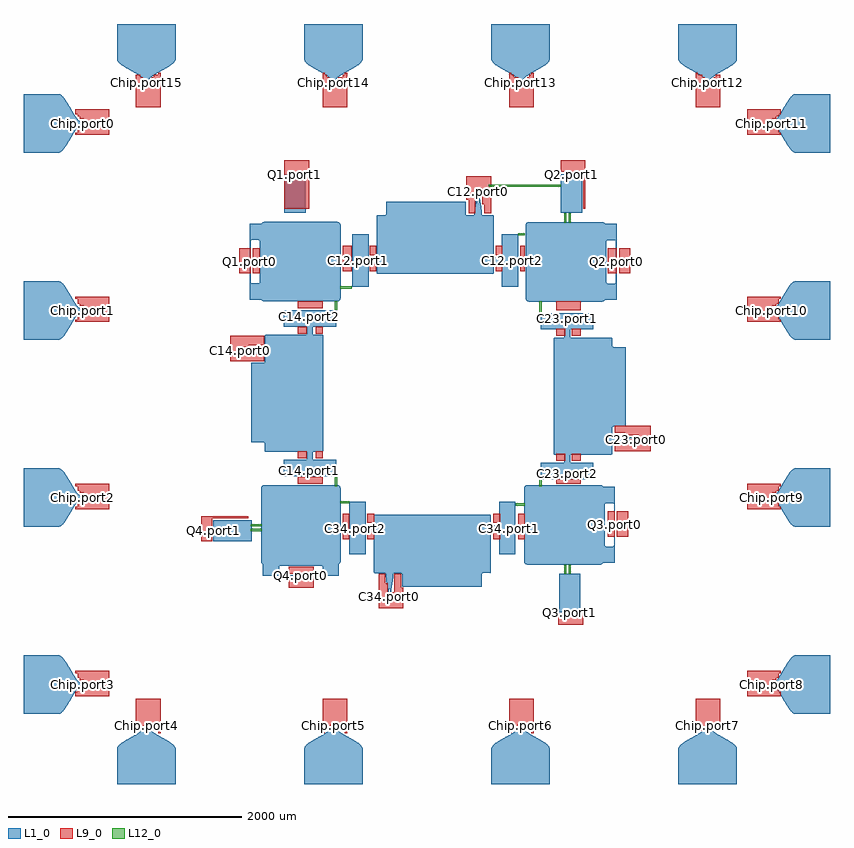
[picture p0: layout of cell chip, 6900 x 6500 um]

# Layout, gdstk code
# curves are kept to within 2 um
import gdstk
lib = gdstk.Library(unit=1e-6, precision=1e-09)
def R(c, l, rs):  # rectangles x0, y0, x1, y1
    for r in rs: c.add(gdstk.rectangle(r[:2], r[2:], *l))
def P(c, l, *ps):  # polygons
    for p in ps: c.add(gdstk.Polygon(p, *l))
L1_0 = (1, 0)
L9_0 = (9, 0)
L12_0 = (12, 0)

chip = lib.new_cell('chip')
R(chip, L1_0, [(4981.21,-209.86,5163.21,120.14), (2022.21,399.14,2352.21,581.14), (4995.28,3209.22,5177.28,3539.22), (2631.21,3210.14,2813.21,3540.14)])
P(chip, L1_0, [(2460.736,2450.14),(2442.039,2457.885),(2435.058,2467.298),(2432.211,2478.656),(2432.211,2466.14),(2336.21,2466.14),(2336.21,2785.14),(2342.21,2785.14),(2343.159,2609.859),(2351.719,2604.14),(2412.701,2604.14),(2418.934,2606.722),(2422.21,2613.649),(2422.114,2967.609),(2418.934,2973.558),(2412.701,2976.14),(2351.719,2976.14),(2343.159,2970.421),(2342.21,2795.14),(2336.21,2795.14),(2336.21,3114.14),(2432.211,3114.14),(2432.211,3101.624),(2435.058,3112.982),(2442.039,3122.395),(2460.736,3130.14),(3083.684,3130.14),(3102.381,3122.395),(3109.362,3112.982),(3112.21,3101.614),(3112.21,2478.666),(3104.465,2459.969),(3095.052,2452.988),(3083.684,2450.14)],
  [(2448.21,104.14),(2448.21,200.141),(2460.726,200.141),(2449.368,202.988),(2439.955,209.969),(2432.21,228.666),(2432.21,851.614),(2439.955,870.311),(2449.368,877.292),(2460.736,880.14),(3083.684,880.14),(3102.381,872.395),(3109.362,862.982),(3112.21,851.614),(3112.21,228.666),(3104.465,209.969),(3095.052,202.988),(3083.694,200.141),(3096.21,200.141),(3096.21,104.14),(2777.21,104.14),(2777.21,110.14),(2952.491,111.089),(2958.21,119.649),(2958.21,180.631),(2955.628,186.864),(2948.701,190.14),(2594.741,190.044),(2588.792,186.864),(2586.21,180.631),(2586.21,119.649),(2591.929,111.089),(2767.21,110.14),(2767.21,104.14)],
  [(2624.73,954.39),(2624.73,1094.39),(2824.73,1094.39),(2824.73,1164.39),(2473.261,1164.486),(2464.826,1172.921),(2464.73,1234.881),(2459.877,1242.978),(2348.73,1244.39),(2348.73,1924.39),(2460.694,1926.348),(2464.73,1933.899),(2464.73,2006.39),(2460.73,2006.39),(2460.73,1999.39),(2434.923,2000.349),(2305.891,2017.662),(2260.73,2020.39),(2260.73,2026.39),(2434.73,2029.252),(2434.73,2033.528),(2260.73,2036.39),(2260.73,2042.39),(2305.891,2045.118),(2434.923,2062.431),(2460.73,2063.39),(2460.73,2056.39),(2464.73,2056.39),(2464.73,2154.881),(2472.297,2164.102),(2824.73,2164.39),(2824.73,2234.39),(2624.73,2234.39),(2624.73,2374.39),(3074.73,2374.39),(3074.73,2234.39),(2874.73,2234.39),(2874.73,2164.39),(2956.199,2164.294),(2962.148,2161.114),(2964.73,2154.881),(2964.73,1173.899),(2962.148,1167.666),(2956.199,1164.486),(2874.73,1164.39),(2874.73,1094.39),(3074.73,1094.39),(3074.73,954.39)],
  [(4710.736,200.14),(4692.039,207.885),(4685.058,217.298),(4682.21,228.666),(4682.21,851.614),(4685.058,862.982),(4692.039,872.395),(4710.736,880.14),(5333.684,880.14),(5352.381,872.395),(5359.362,862.982),(5362.209,851.624),(5362.209,864.14),(5458.21,864.14),(5458.21,545.14),(5452.21,545.14),(5451.261,720.421),(5442.701,726.14),(5381.719,726.14),(5375.486,723.558),(5372.21,716.631),(5372.306,362.671),(5375.486,356.722),(5381.719,354.14),(5442.701,354.14),(5451.261,359.859),(5452.21,535.14),(5458.21,535.14),(5458.21,216.14),(5362.209,216.14),(5362.209,228.656),(5359.362,217.298),(5352.381,207.885),(5333.684,200.14)],
  [(3211.53,2577.07),(3211.53,3027.07),(3351.53,3027.07),(3351.53,2827.07),(3421.53,2827.07),(3421.626,3178.539),(3430.061,3186.974),(3492.021,3187.07),(3500.118,3191.923),(3501.53,3303.07),(4181.53,3303.07),(4183.488,3191.106),(4191.039,3187.07),(4263.53,3187.07),(4263.53,3191.07),(4256.53,3191.07),(4257.489,3216.877),(4274.802,3345.909),(4277.53,3391.07),(4283.53,3391.07),(4286.392,3217.07),(4290.668,3217.07),(4293.53,3391.07),(4299.53,3391.07),(4302.258,3345.909),(4319.571,3216.877),(4320.53,3191.07),(4313.53,3191.07),(4313.53,3187.07),(4412.021,3187.07),(4421.242,3179.503),(4421.53,2827.07),(4491.53,2827.07),(4491.53,3027.07),(4631.53,3027.07),(4631.53,2577.07),(4491.53,2577.07),(4491.53,2777.07),(4421.53,2777.07),(4421.434,2695.601),(4418.254,2689.652),(4412.021,2687.07),(3431.039,2687.07),(3424.806,2689.652),(3421.626,2695.601),(3421.53,2777.07),(3351.53,2777.07),(3351.53,2577.07)],
  [(4825.24,930.7),(4825.24,1070.7),(5025.24,1070.7),(5025.24,1140.7),(4943.771,1140.796),(4937.822,1143.976),(4935.24,1150.209),(4935.24,2131.191),(4937.822,2137.424),(4943.771,2140.604),(5025.24,2140.7),(5025.24,2210.7),(4825.24,2210.7),(4825.24,2350.7),(5275.24,2350.7),(5275.24,2210.7),(5075.24,2210.7),(5075.24,2140.7),(5426.709,2140.604),(5435.144,2132.169),(5435.24,2070.209),(5440.093,2062.112),(5551.24,2060.7),(5551.24,1380.7),(5439.276,1378.742),(5435.24,1371.191),(5435.24,1298.7),(5439.24,1298.7),(5439.24,1305.7),(5465.047,1304.741),(5594.079,1287.428),(5639.24,1284.7),(5639.24,1278.7),(5465.24,1275.838),(5465.24,1271.562),(5639.24,1268.7),(5639.24,1262.7),(5594.079,1259.972),(5465.047,1242.659),(5439.24,1241.7),(5439.24,1248.7),(5435.24,1248.7),(5435.24,1150.209),(5427.673,1140.988),(5075.24,1140.7),(5075.24,1070.7),(5275.24,1070.7),(5275.24,930.7)],
  [(3519.83,-77.02),(3517.102,-31.859),(3499.789,97.173),(3498.83,122.98),(3505.83,122.98),(3505.83,126.98),(3407.339,126.98),(3398.118,134.547),(3397.83,486.98),(3327.83,486.98),(3327.83,286.98),(3187.83,286.98),(3187.83,736.98),(3327.83,736.98),(3327.83,536.98),(3397.83,536.98),(3397.926,618.449),(3401.106,624.398),(3407.339,626.98),(4388.321,626.98),(4394.554,624.398),(4397.734,618.449),(4397.83,536.98),(4467.83,536.98),(4467.83,736.98),(4607.83,736.98),(4607.83,286.98),(4467.83,286.98),(4467.83,486.98),(4397.83,486.98),(4397.734,135.511),(4389.299,127.076),(4327.339,126.98),(4319.242,122.127),(4317.83,10.98),(3637.83,10.98),(3635.872,122.944),(3628.321,126.98),(3555.83,126.98),(3555.83,122.98),(3562.83,122.98),(3561.871,97.173),(3544.558,-31.859),(3541.83,-77.02),(3535.83,-77.02),(3532.968,96.98),(3528.692,96.98),(3525.83,-77.02)],
  [(1440.54,4323.29),(1434.258,4342.645),(1409.485,4368.451),(1371.618,4394.258),(1250.277,4465.225),(1218.187,4491.032),(1204.396,4510.387),(1201.54,4523.29),(1201.54,4823.29),(1701.54,4823.29),(1701.54,4523.29),(1698.684,4510.387),(1684.893,4491.032),(1652.803,4465.225),(1531.462,4394.258),(1493.595,4368.451),(1468.822,4342.645),(1462.54,4323.29)],
  [(1201.54,-1676.71),(1201.54,-1376.71),(1204.396,-1363.807),(1218.187,-1344.452),(1250.277,-1318.645),(1371.618,-1247.678),(1409.485,-1221.871),(1434.258,-1196.065),(1440.54,-1176.71),(1462.54,-1176.71),(1468.822,-1196.065),(1493.595,-1221.871),(1531.462,-1247.678),(1652.803,-1318.645),(1678.146,-1338),(1695.258,-1357.355),(1701.54,-1376.71),(1701.54,-1676.71)],
  [(3040.54,4323.29),(3034.258,4342.645),(3009.485,4368.451),(2971.618,4394.258),(2850.277,4465.225),(2818.187,4491.032),(2804.396,4510.387),(2801.54,4523.29),(2801.54,4823.29),(3301.54,4823.29),(3301.54,4523.29),(3298.684,4510.387),(3284.893,4491.032),(3252.803,4465.225),(3131.462,4394.258),(3093.595,4368.451),(3068.822,4342.645),(3062.54,4323.29)],
  [(2801.54,-1676.71),(2801.54,-1376.71),(2804.396,-1363.807),(2818.187,-1344.452),(2850.277,-1318.645),(2971.618,-1247.678),(3009.485,-1221.871),(3034.258,-1196.065),(3040.54,-1176.71),(3062.54,-1176.71),(3068.822,-1196.065),(3093.595,-1221.871),(3131.462,-1247.678),(3252.803,-1318.645),(3278.146,-1338),(3295.258,-1357.355),(3301.54,-1376.71),(3301.54,-1676.71)],
  [(4640.54,4323.29),(4634.258,4342.645),(4609.485,4368.451),(4571.618,4394.258),(4450.277,4465.225),(4418.187,4491.032),(4404.396,4510.387),(4401.54,4523.29),(4401.54,4823.29),(4901.54,4823.29),(4901.54,4523.29),(4898.684,4510.387),(4884.893,4491.032),(4852.803,4465.225),(4731.462,4394.258),(4693.595,4368.451),(4668.822,4342.645),(4662.54,4323.29)],
  [(4401.54,-1676.71),(4401.54,-1376.71),(4404.396,-1363.807),(4418.187,-1344.452),(4450.277,-1318.645),(4571.618,-1247.678),(4609.485,-1221.871),(4634.258,-1196.065),(4640.54,-1176.71),(4662.54,-1176.71),(4668.822,-1196.065),(4693.595,-1221.871),(4731.462,-1247.678),(4852.803,-1318.645),(4878.146,-1338),(4895.258,-1357.355),(4901.54,-1376.71),(4901.54,-1676.71)],
  [(6240.54,4323.29),(6234.258,4342.645),(6209.485,4368.451),(6171.618,4394.258),(6050.277,4465.225),(6018.187,4491.032),(6004.396,4510.387),(6001.54,4523.29),(6001.54,4823.29),(6501.54,4823.29),(6501.54,4523.29),(6498.684,4510.387),(6484.893,4491.032),(6452.803,4465.225),(6331.462,4394.258),(6293.595,4368.451),(6268.822,4342.645),(6262.54,4323.29)],
  [(6001.54,-1676.71),(6001.54,-1376.71),(6004.396,-1363.807),(6018.187,-1344.452),(6050.277,-1318.645),(6171.618,-1247.678),(6209.485,-1221.871),(6234.258,-1196.065),(6240.54,-1176.71),(6262.54,-1176.71),(6268.822,-1196.065),(6293.595,-1221.871),(6331.462,-1247.678),(6452.803,-1318.645),(6478.146,-1338),(6495.258,-1357.355),(6501.54,-1376.71),(6501.54,-1676.71)],
  [(401.54,3723.29),(401.54,4223.29),(701.54,4223.29),(720.895,4217.008),(740.25,4199.896),(759.605,4174.553),(830.572,4053.212),(856.379,4015.345),(882.185,3990.572),(901.54,3984.29),(901.54,3962.29),(882.185,3956.008),(856.379,3931.235),(830.572,3893.368),(759.605,3772.027),(733.798,3739.937),(714.443,3726.146),(701.54,3723.29)],
  [(7001.54,3723.29),(6982.185,3729.572),(6956.379,3754.345),(6930.572,3792.212),(6853.153,3922.755),(6827.346,3951.379),(6814.443,3959.434),(6801.54,3962.29),(6801.54,3984.29),(6820.895,3990.572),(6846.701,4015.345),(6872.508,4053.212),(6943.475,4174.553),(6969.282,4206.643),(6988.637,4220.434),(7001.54,4223.29),(7301.54,4223.29),(7301.54,3723.29)],
  [(401.54,2123.29),(401.54,2623.29),(701.54,2623.29),(720.895,2617.008),(740.25,2599.896),(759.605,2574.553),(830.572,2453.212),(856.379,2415.345),(882.185,2390.572),(901.54,2384.29),(901.54,2362.29),(882.185,2356.008),(856.379,2331.235),(830.572,2293.368),(759.605,2172.027),(733.798,2139.937),(714.443,2126.146),(701.54,2123.29)],
  [(7001.54,2123.29),(6982.185,2129.572),(6956.379,2154.345),(6930.572,2192.212),(6853.153,2322.755),(6827.346,2351.379),(6814.443,2359.434),(6801.54,2362.29),(6801.54,2384.29),(6820.895,2390.572),(6846.701,2415.345),(6872.508,2453.212),(6943.475,2574.553),(6969.282,2606.643),(6988.637,2620.434),(7001.54,2623.29),(7301.54,2623.29),(7301.54,2123.29)],
  [(401.54,523.29),(401.54,1023.29),(701.54,1023.29),(720.895,1017.008),(740.25,999.896),(759.605,974.553),(830.572,853.212),(856.379,815.345),(882.185,790.572),(901.54,784.29),(901.54,762.29),(882.185,756.008),(856.379,731.235),(830.572,693.368),(759.605,572.027),(733.798,539.937),(714.443,526.146),(701.54,523.29)],
  [(7001.54,523.29),(6982.185,529.572),(6956.379,554.345),(6930.572,592.212),(6853.153,722.755),(6827.346,751.379),(6814.443,759.434),(6801.54,762.29),(6801.54,784.29),(6820.895,790.572),(6846.701,815.345),(6872.508,853.212),(6943.475,974.553),(6969.282,1006.643),(6988.637,1020.434),(7001.54,1023.29),(7301.54,1023.29),(7301.54,523.29)],
  [(401.54,-1076.71),(401.54,-576.71),(701.54,-576.71),(720.895,-582.992),(740.25,-600.104),(759.605,-625.447),(830.572,-746.788),(856.379,-784.655),(882.185,-809.428),(901.54,-815.71),(901.54,-837.71),(882.185,-843.992),(856.379,-868.765),(830.572,-906.632),(759.605,-1027.973),(733.798,-1060.063),(714.443,-1073.854),(701.54,-1076.71)],
  [(7001.54,-1076.71),(6982.185,-1070.428),(6956.379,-1045.655),(6930.572,-1007.788),(6853.153,-877.245),(6827.346,-848.621),(6814.443,-840.566),(6801.54,-837.71),(6801.54,-815.71),(6820.895,-809.428),(6846.701,-784.655),(6872.508,-746.788),(6943.475,-625.447),(6969.282,-593.357),(6988.637,-579.566),(7001.54,-576.71),(7301.54,-576.71),(7301.54,-1076.71)],
  [(4724.806,2449.22),(4706.109,2456.965),(4699.128,2466.378),(4696.28,2477.746),(4696.28,3100.694),(4699.128,3112.062),(4706.109,3121.475),(4724.806,3129.22),(5347.754,3129.22),(5366.451,3121.475),(5373.432,3112.062),(5376.279,3100.704),(5376.279,3113.22),(5472.28,3113.22),(5472.28,2794.22),(5466.28,2794.22),(5465.331,2969.501),(5456.771,2975.22),(5395.789,2975.22),(5389.556,2972.638),(5386.28,2965.711),(5386.376,2611.751),(5389.556,2605.802),(5395.789,2603.22),(5456.771,2603.22),(5465.331,2608.939),(5466.28,2784.22),(5472.28,2784.22),(5472.28,2465.22),(5376.279,2465.22),(5376.279,2477.736),(5373.432,2466.378),(5366.451,2456.965),(5347.754,2449.22)])
R(chip, L9_0, [(4975.913,-313.488,5187.334,-214.704), (2669.507,2.621,2880.927,101.406), (2669.507,121.162,2880.927,180.433), (3130.788,417.515,3188.448,634.84), (3342.209,417.515,3399.869,496.542), (4418.532,417.515,4476.192,496.542), (4629.952,417.515,4687.612,634.84), (5398.754,437.272,5456.415,654.597), (5475.635,437.272,5571.735,654.597), (3342.209,555.813,3399.869,634.84), (4418.532,555.813,4476.192,634.84), (2746.387,891.679,2957.807,950.95), (4956.693,891.679,5168.114,931.193), (4956.693,1089.247,5033.573,1148.518), (5091.234,1089.247,5168.114,1148.518), (2746.387,1109.004,2823.267,1168.275), (2900.147,1109.004,2957.807,1168.275), (4956.693,2156.117,5033.573,2215.387), (5091.234,2156.117,5168.114,2215.387), (2746.387,2175.874,2823.267,2235.144), (2900.147,2175.874,2957.807,2235.144), (4956.693,2373.442,5168.114,2452.469), (2746.387,2393.199,2957.807,2452.469), (2246.665,2689.551,2342.766,2906.877), (2361.986,2689.551,2419.646,2906.877), (5398.754,2689.551,5475.635,2906.877), (5494.855,2689.551,5590.955,2906.877), (3130.788,2709.308,3207.668,2926.633), (3361.429,2709.308,3419.089,2768.579), (4437.752,2709.308,4495.412,2768.579), (4649.172,2709.308,4687.612,2926.633), (3361.429,2847.606,3419.089,2926.633), (4437.752,2847.606,4495.412,2926.633), (2631.066,3242.743,2842.487,3657.637)])
P(chip, L9_0, [(6148.337,4112.044),(6148.337,4408.396),(6167.557,4408.396),(6167.557,4388.64),(6205.997,4388.64),(6205.997,4368.883),(6225.217,4368.883),(6225.217,4349.126),(6244.437,4349.126),(6244.437,4329.369),(6282.877,4329.369),(6282.877,4349.126),(6302.097,4349.126),(6302.097,4368.883),(6321.317,4368.883),(6321.317,4388.64),(6359.757,4388.64),(6359.757,4112.044)],
  [(4553.072,4112.044),(4553.072,4408.396),(4572.292,4408.396),(4572.292,4388.64),(4591.512,4388.64),(4591.512,4368.883),(4629.952,4368.883),(4629.952,4329.369),(4687.612,4329.369),(4687.612,4349.126),(4706.832,4349.126),(4706.832,4368.883),(4726.053,4368.883),(4726.053,4388.64),(4745.273,4388.64),(4745.273,4408.396),(4764.493,4408.396),(4764.493,4112.044)],
  [(1362.543,4112.044),(1362.543,4388.64),(1400.983,4388.64),(1400.983,4368.883),(1420.203,4368.883),(1420.203,4349.126),(1439.423,4349.126),(1439.423,4329.369),(1477.863,4329.369),(1477.863,4349.126),(1497.083,4349.126),(1497.083,4368.883),(1516.303,4368.883),(1516.303,4388.64),(1554.743,4388.64),(1554.743,4408.396),(1573.963,4408.396),(1573.963,4112.044)],
  [(2957.807,4112.044),(2957.807,4408.396),(2977.027,4408.396),(2977.027,4388.64),(2996.248,4388.64),(2996.248,4368.883),(3015.468,4368.883),(3015.468,4349.126),(3034.688,4349.126),(3034.688,4329.369),(3092.348,4329.369),(3092.348,4368.883),(3130.788,4368.883),(3130.788,4388.64),(3150.008,4388.64),(3150.008,4408.396),(3169.228,4408.396),(3169.228,4112.044)],
  [(6590.398,3874.962),(6590.398,4092.287),(6878.699,4092.287),(6878.699,4052.773),(6859.479,4052.773),(6859.479,4033.016),(6840.259,4033.016),(6840.259,4013.26),(6801.819,4013.26),(6801.819,3953.989),(6840.259,3953.989),(6840.259,3934.232),(6859.479,3934.232),(6859.479,3894.719),(6878.699,3894.719),(6878.699,3874.962)],
  [(843.601,3874.962),(843.601,3894.719),(862.821,3894.719),(862.821,3934.232),(882.041,3934.232),(882.041,3953.989),(920.482,3953.989),(920.482,4013.26),(882.041,4013.26),(882.041,4033.016),(862.821,4033.016),(862.821,4052.773),(843.601,4052.773),(843.601,4092.287),(1131.902,4092.287),(1131.902,3874.962)],
  [(5187.334,3242.743),(5187.334,3558.852),(4995.133,3558.852),(4995.133,3657.637),(5206.554,3657.637),(5206.554,3242.743)],
  [(4207.111,3203.229),(4207.111,3321.77),(4187.891,3321.77),(4187.891,3519.339),(4399.312,3519.339),(4399.312,3203.229),(4341.651,3203.229),(4341.651,3282.257),(4322.431,3282.257),(4322.431,3420.554),(4283.991,3420.554),(4283.991,3361.284),(4264.771,3361.284),(4264.771,3203.229)],
  [(6590.398,2274.658),(6590.398,2491.983),(6878.699,2491.983),(6878.699,2472.226),(6859.479,2472.226),(6859.479,2432.712),(6840.259,2432.712),(6840.259,2412.956),(6801.819,2412.956),(6801.819,2353.685),(6840.259,2353.685),(6840.259,2333.928),(6859.479,2333.928),(6859.479,2294.415),(6878.699,2294.415),(6878.699,2274.658)],
  [(843.601,2274.658),(843.601,2294.415),(862.821,2294.415),(862.821,2333.928),(882.041,2333.928),(882.041,2353.685),(920.482,2353.685),(920.482,2412.956),(882.041,2412.956),(882.041,2432.712),(862.821,2432.712),(862.821,2472.226),(843.601,2472.226),(843.601,2491.983),(1131.902,2491.983),(1131.902,2274.658)],
  [(2169.785,1938.792),(2169.785,2156.117),(2458.086,2156.117),(2458.086,2077.089),(2323.546,2077.089),(2323.546,2057.333),(2265.885,2057.333),(2265.885,2017.819),(2381.206,2017.819),(2381.206,1998.062),(2458.086,1998.062),(2458.086,1938.792)],
  [(5456.415,1168.275),(5456.415,1247.302),(5590.955,1247.302),(5590.955,1267.059),(5667.835,1267.059),(5667.835,1306.573),(5552.515,1306.573),(5552.515,1326.33),(5456.415,1326.33),(5456.415,1385.6),(5763.936,1385.6),(5763.936,1168.275)],
  [(6590.398,674.354),(6590.398,891.679),(6878.699,891.679),(6878.699,871.922),(6859.479,871.922),(6859.479,832.409),(6840.259,832.409),(6840.259,812.652),(6801.819,812.652),(6801.819,753.381),(6840.259,753.381),(6840.259,733.624),(6859.479,733.624),(6859.479,694.111),(6878.699,694.111),(6878.699,674.354)],
  [(843.601,674.354),(843.601,694.111),(862.821,694.111),(862.821,733.624),(882.041,733.624),(882.041,753.381),(920.482,753.381),(920.482,812.652),(882.041,812.652),(882.041,832.409),(862.821,832.409),(862.821,871.922),(843.601,871.922),(843.601,891.679),(1131.902,891.679),(1131.902,674.354)],
  [(1919.924,397.758),(1919.924,615.083),(2323.546,615.083),(2323.546,595.326),(2016.025,595.326),(2016.025,397.758)],
  [(3438.309,-175.19),(3438.309,121.162),(3495.969,121.162),(3495.969,42.135),(3515.189,42.135),(3515.189,-76.406),(3553.629,-76.406),(3553.629,-36.892),(3572.849,-36.892),(3572.849,121.162),(3630.509,121.162),(3630.509,2.621),(3649.729,2.621),(3649.729,-175.19)],
  [(6590.398,-925.95),(6590.398,-708.625),(6878.699,-708.625),(6878.699,-728.382),(6859.479,-728.382),(6859.479,-767.895),(6840.259,-767.895),(6840.259,-787.652),(6801.819,-787.652),(6801.819,-846.923),(6840.259,-846.923),(6840.259,-866.68),(6859.479,-866.68),(6859.479,-886.436),(6878.699,-886.436),(6878.699,-925.95)],
  [(843.601,-925.95),(843.601,-886.436),(862.821,-886.436),(862.821,-866.68),(882.041,-866.68),(882.041,-846.923),(920.482,-846.923),(920.482,-787.652),(882.041,-787.652),(882.041,-767.895),(862.821,-767.895),(862.821,-728.382),(843.601,-728.382),(843.601,-708.625),(1131.902,-708.625),(1131.902,-925.95)],
  [(6148.337,-1242.06),(6148.337,-945.707),(6359.757,-945.707),(6359.757,-1222.303),(6321.317,-1222.303),(6321.317,-1202.546),(6302.097,-1202.546),(6302.097,-1182.789),(6282.877,-1182.789),(6282.877,-1163.032),(6244.437,-1163.032),(6244.437,-1182.789),(6225.217,-1182.789),(6225.217,-1202.546),(6205.997,-1202.546),(6205.997,-1222.303),(6167.557,-1222.303),(6167.557,-1242.06)],
  [(4553.072,-1242.06),(4553.072,-945.707),(4764.493,-945.707),(4764.493,-1242.06),(4745.273,-1242.06),(4745.273,-1222.303),(4726.053,-1222.303),(4726.053,-1202.546),(4706.832,-1202.546),(4706.832,-1182.789),(4687.612,-1182.789),(4687.612,-1163.032),(4629.952,-1163.032),(4629.952,-1202.546),(4591.512,-1202.546),(4591.512,-1222.303),(4572.292,-1222.303),(4572.292,-1242.06)],
  [(2957.807,-1242.06),(2957.807,-945.707),(3169.228,-945.707),(3169.228,-1242.06),(3150.008,-1242.06),(3150.008,-1222.303),(3130.788,-1222.303),(3130.788,-1202.546),(3092.348,-1202.546),(3092.348,-1163.032),(3034.688,-1163.032),(3034.688,-1182.789),(3015.468,-1182.789),(3015.468,-1202.546),(2996.248,-1202.546),(2996.248,-1222.303),(2977.027,-1222.303),(2977.027,-1242.06)],
  [(1554.743,-1242.06),(1554.743,-1222.303),(1516.303,-1222.303),(1516.303,-1202.546),(1497.083,-1202.546),(1497.083,-1182.789),(1477.863,-1182.789),(1477.863,-1163.032),(1439.423,-1163.032),(1439.423,-1182.789),(1420.203,-1182.789),(1420.203,-1202.546),(1400.983,-1202.546),(1400.983,-1222.303),(1362.543,-1222.303),(1362.543,-945.707),(1573.963,-945.707),(1573.963,-1242.06)])
chip.add(gdstk.FlexPath([(5033.573,200.19),(5033.573,121.162)], 20, ends="flush", simple_path=True, layer=12, datatype=0))  # L12_0
chip.add(gdstk.FlexPath([(5072.014,200.19),(5072.014,121.162)], 20, ends="flush", simple_path=True, layer=12, datatype=0))  # L12_0
chip.add(gdstk.FlexPath([(2438.866,496.542),(2342.766,496.542)], 20, ends="flush", simple_path=True, layer=12, datatype=0))  # L12_0
chip.add(gdstk.FlexPath([(2438.866,536.056),(2342.766,536.056)], 20, ends="flush", simple_path=True, layer=12, datatype=0))  # L12_0
chip.add(gdstk.FlexPath([(4687.612,713.868),(4610.732,713.868)], 20, ends="flush", simple_path=True, layer=12, datatype=0))  # L12_0
chip.add(gdstk.FlexPath([(3188.448,733.624),(3111.568,733.624)], 20, ends="flush", simple_path=True, layer=12, datatype=0))  # L12_0
chip.add(gdstk.FlexPath([(4822.153,931.193),(4822.153,871.922)], 20, ends="flush", simple_path=True, layer=12, datatype=0))  # L12_0
chip.add(gdstk.FlexPath([(3073.128,950.95),(3073.128,871.922)], 20, ends="flush", simple_path=True, layer=12, datatype=0))  # L12_0
chip.add(gdstk.FlexPath([(4822.153,2452.469),(4822.153,2353.685)], 20, ends="flush", simple_path=True, layer=12, datatype=0))  # L12_0
chip.add(gdstk.FlexPath([(3073.128,2452.469),(3073.128,2373.442)], 20, ends="flush", simple_path=True, layer=12, datatype=0))  # L12_0
chip.add(gdstk.FlexPath([(3207.668,2571.01),(3111.568,2571.01)], 20, ends="flush", simple_path=True, layer=12, datatype=0))  # L12_0
chip.add(gdstk.FlexPath([(4687.612,3025.418),(4629.952,3025.418)], 20, ends="flush", simple_path=True, layer=12, datatype=0))  # L12_0
chip.add(gdstk.FlexPath([(5033.573,3203.229),(5033.573,3124.202)], 20, ends="flush", simple_path=True, layer=12, datatype=0))  # L12_0
chip.add(gdstk.FlexPath([(5072.014,3203.229),(5072.014,3124.202)], 20, ends="flush", simple_path=True, layer=12, datatype=0))  # L12_0
chip.add(gdstk.FlexPath([(4995.133,3440.311),(4380.092,3440.311)], 20, ends="flush", simple_path=True, layer=12, datatype=0))  # L12_0
chip.add(gdstk.Label('Q1.port0', (2336.21,2790.14), layer=2, texttype=2))
chip.add(gdstk.Label('Q4.port0', (2772.21,104.14), layer=2, texttype=2))
chip.add(gdstk.Label('Q3.port0', (5458.21,540.14), layer=2, texttype=2))
chip.add(gdstk.Label('Q2.port0', (5472.28,2789.22), layer=2, texttype=2))
chip.add(gdstk.Label('Q1.port1', (2722.21,3540.14), layer=2, texttype=3))
chip.add(gdstk.Label('Q4.port1', (2022.21,490.14), layer=2, texttype=3))
chip.add(gdstk.Label('C14.port0', (2260.73,2031.39), layer=2, texttype=3))
chip.add(gdstk.Label('Q3.port1', (5072.21,-209.86), layer=2, texttype=3))
chip.add(gdstk.Label('C12.port0', (4288.53,3391.07), layer=2, texttype=3))
chip.add(gdstk.Label('C23.port0', (5639.24,1273.7), layer=2, texttype=3))
chip.add(gdstk.Label('C34.port0', (3530.83,-77.02), layer=2, texttype=3))
chip.add(gdstk.Label('Q2.port1', (5086.28,3539.22), layer=2, texttype=3))
chip.add(gdstk.Label('C14.port1', (2849.73,1004.39), layer=2, texttype=5))
chip.add(gdstk.Label('C14.port2', (2849.73,2324.39), layer=2, texttype=5))
chip.add(gdstk.Label('C12.port1', (3261.53,2802.07), layer=2, texttype=5))
chip.add(gdstk.Label('C12.port2', (4581.53,2802.07), layer=2, texttype=5))
chip.add(gdstk.Label('C23.port1', (5050.24,2300.7), layer=2, texttype=5))
chip.add(gdstk.Label('C23.port2', (5050.24,980.7), layer=2, texttype=5))
chip.add(gdstk.Label('C34.port1', (4557.83,511.98), layer=2, texttype=5))
chip.add(gdstk.Label('C34.port2', (3237.83,511.98), layer=2, texttype=5))
chip.add(gdstk.Label('Chip.port0', (901.54,3973.29), layer=2, texttype=1))
chip.add(gdstk.Label('Chip.port1', (901.54,2373.29), layer=2, texttype=1))
chip.add(gdstk.Label('Chip.port2', (901.54,773.29), layer=2, texttype=1))
chip.add(gdstk.Label('Chip.port3', (901.54,-826.71), layer=2, texttype=1))
chip.add(gdstk.Label('Chip.port4', (1451.54,-1176.71), layer=2, texttype=1))
chip.add(gdstk.Label('Chip.port5', (3051.54,-1176.71), layer=2, texttype=1))
chip.add(gdstk.Label('Chip.port6', (4651.54,-1176.71), layer=2, texttype=1))
chip.add(gdstk.Label('Chip.port7', (6251.54,-1176.71), layer=2, texttype=1))
chip.add(gdstk.Label('Chip.port8', (6801.54,-826.71), layer=2, texttype=1))
chip.add(gdstk.Label('Chip.port9', (6801.54,773.29), layer=2, texttype=1))
chip.add(gdstk.Label('Chip.port10', (6801.54,2373.29), layer=2, texttype=1))
chip.add(gdstk.Label('Chip.port11', (6801.54,3973.29), layer=2, texttype=1))
chip.add(gdstk.Label('Chip.port12', (6251.54,4323.29), layer=2, texttype=1))
chip.add(gdstk.Label('Chip.port13', (4651.54,4323.29), layer=2, texttype=1))
chip.add(gdstk.Label('Chip.port14', (3051.54,4323.29), layer=2, texttype=1))
chip.add(gdstk.Label('Chip.port15', (1451.54,4323.29), layer=2, texttype=1))

lib.write_gds('chip.gds')
